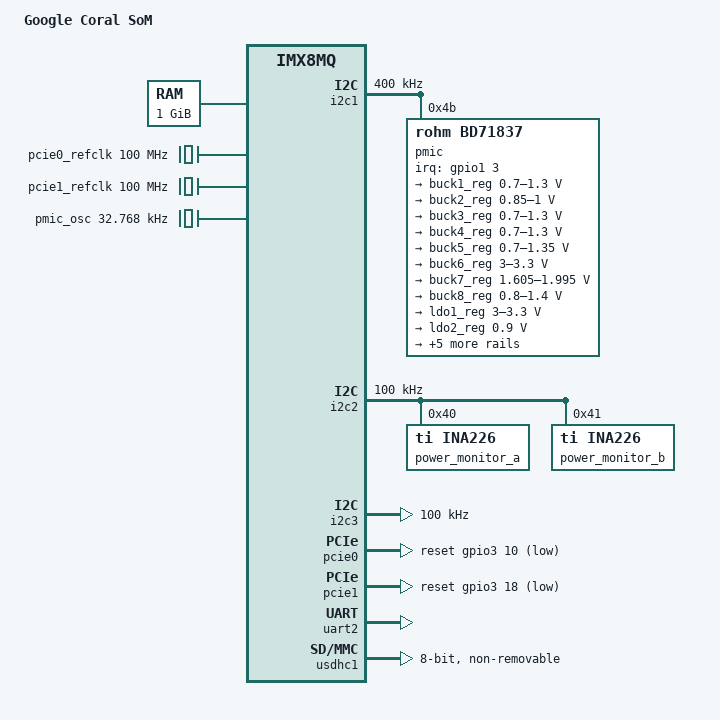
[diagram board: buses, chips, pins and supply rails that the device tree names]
// SPDX-License-Identifier: (GPL-2.0 OR MIT)

#include "imx8mq.dtsi"

/ {
	model = "Google Coral SoM";
	compatible = "fsl,imx8mq";

	memory@40000000 {
		device_type = "memory";
		reg = <0x0 0x40000000 0x0 0x40000000>;
	};

	pcie0_refclk: clock-pcie0-refclk {
		compatible = "fixed-clock";
		#clock-cells = <0>;
		clock-frequency = <100000000>;
	};

	pcie1_refclk: clock-pcie1-refclk {
		compatible = "fixed-clock";
		#clock-cells = <0>;
		clock-frequency = <100000000>;
	};

	pmic_osc: clock-pmic {
		compatible = "fixed-clock";
		#clock-cells = <0>;
		clock-frequency = <32768>;
		clock-output-names = "pmic_osc";
	};
};

&A53_0 {
	cpu-supply = <&buck2_reg>;
};

&A53_1 {
	cpu-supply = <&buck2_reg>;
};

&A53_2 {
	cpu-supply = <&buck2_reg>;
};

&A53_3 {
	cpu-supply = <&buck2_reg>;
};

&i2c1 {
	pinctrl-names = "default";
	pinctrl-0 = <&pinctrl_i2c1>;
	clock-frequency = <400000>;
	status = "okay";

	pmic: pmic@4b {
		compatible = "rohm,bd71837";
		reg = <0x4b>;
		pinctrl-names = "default";
		pinctrl-0 = <&pinctrl_pmic>;
		clocks = <&pmic_osc>;
		clock-names = "osc";
		clock-output-names = "pmic_clk";
		interrupt-parent = <&gpio1>;
		interrupts = <3 GPIO_ACTIVE_LOW>;
		interrupt-names = "irq";

		regulators {
			buck1_reg: BUCK1 {
				regulator-name = "buck1";
				regulator-min-microvolt = <700000>;
				regulator-max-microvolt = <1300000>;
				regulator-boot-on;
				regulator-always-on;
				regulator-ramp-delay = <1250>;
				rohm,dvs-run-voltage = <900000>;
				rohm,dvs-idle-voltage = <900000>;
				rohm,dvs-suspend-voltage = <800000>;
			};

			buck2_reg: BUCK2 {
				regulator-name = "buck2";
				regulator-min-microvolt = <850000>;
				regulator-max-microvolt = <1000000>;
				regulator-boot-on;
				regulator-always-on;
				rohm,dvs-run-voltage = <1000000>;
				rohm,dvs-idle-voltage = <900000>;
			};

			buck3_reg: BUCK3 {
				regulator-name = "buck3";
				regulator-min-microvolt = <700000>;
				regulator-max-microvolt = <1300000>;
				regulator-boot-on;
				rohm,dvs-run-voltage = <900000>;
			};

			buck4_reg: BUCK4 {
				regulator-name = "buck4";
				regulator-min-microvolt = <700000>;
				regulator-max-microvolt = <1300000>;
				regulator-boot-on;
				rohm,dvs-run-voltage = <900000>;
			};

			buck5_reg: BUCK5 {
				regulator-name = "buck5";
				regulator-min-microvolt = <700000>;
				regulator-max-microvolt = <1350000>;
				regulator-boot-on;
				regulator-always-on;
			};

			buck6_reg: BUCK6 {
				regulator-name = "buck6";
				regulator-min-microvolt = <3000000>;
				regulator-max-microvolt = <3300000>;
				regulator-boot-on;
				regulator-always-on;
			};

			buck7_reg: BUCK7 {
				regulator-name = "buck7";
				regulator-min-microvolt = <1605000>;
				regulator-max-microvolt = <1995000>;
				regulator-boot-on;
				regulator-always-on;
			};

			buck8_reg: BUCK8 {
				regulator-name = "buck8";
				regulator-min-microvolt = <800000>;
				regulator-max-microvolt = <1400000>;
				regulator-boot-on;
				regulator-always-on;
			};

			ldo1_reg: LDO1 {
				regulator-name = "ldo1";
				regulator-min-microvolt = <3000000>;
				regulator-max-microvolt = <3300000>;
				regulator-boot-on;
				regulator-always-on;
			};

			ldo2_reg: LDO2 {
				regulator-name = "ldo2";
				regulator-min-microvolt = <900000>;
				regulator-max-microvolt = <900000>;
				regulator-boot-on;
				regulator-always-on;
			};

			ldo3_reg: LDO3 {
				regulator-name = "ldo3";
				regulator-min-microvolt = <1800000>;
				regulator-max-microvolt = <3300000>;
				regulator-boot-on;
				regulator-always-on;
			};

			ldo4_reg: LDO4 {
				regulator-name = "ldo4";
				regulator-min-microvolt = <900000>;
				regulator-max-microvolt = <1800000>;
				regulator-boot-on;
				regulator-always-on;
			};

			ldo5_reg: LDO5 {
				regulator-name = "ldo5";
				regulator-min-microvolt = <1800000>;
				regulator-max-microvolt = <3300000>;
				regulator-boot-on;
				regulator-always-on;
			};

			ldo6_reg: LDO6 {
				regulator-name = "ldo6";
				regulator-min-microvolt = <900000>;
				regulator-max-microvolt = <1800000>;
				regulator-boot-on;
				regulator-always-on;
			};

			ldo7_reg: LDO7 {
				regulator-name = "ldo7";
				regulator-min-microvolt = <1800000>;
				regulator-max-microvolt = <3300000>;
				regulator-boot-on;
				regulator-always-on;
			};
		};
	};
};

&i2c2 {
	pinctrl-names = "default";
	pinctrl-0 = <&pinctrl_i2c2>;
	clock-frequency = <100000>;
	status = "okay";

	power_monitor_a: power-monitor@40 {
		compatible = "ti,ina226";
		reg = <0x40>;
		shunt-resistor = <68000>;
	};

	power_monitor_b: power-monitor@41 {
		compatible = "ti,ina226";
		reg = <0x41>;
		shunt-resistor = <68000>;
	};
};

&i2c3 {
	pinctrl-names = "default";
	pinctrl-0 = <&pinctrl_i2c3>;
	clock-frequency = <100000>;
	status = "okay";
};

&iomuxc {
	pinctrl_i2c1: i2c1grp {
		fsl,pins =
			<MX8MQ_IOMUXC_I2C1_SCL_I2C1_SCL		0x4000007f>,
			<MX8MQ_IOMUXC_I2C1_SDA_I2C1_SDA		0x4000007f>;
	};

	pinctrl_i2c2: i2c2grp {
		fsl,pins =
			<MX8MQ_IOMUXC_I2C2_SCL_I2C2_SCL		0x4000007f>,
			<MX8MQ_IOMUXC_I2C2_SDA_I2C2_SDA		0x4000007f>;
	};

	pinctrl_i2c3: i2c3grp {
		fsl,pins =
			<MX8MQ_IOMUXC_I2C3_SCL_I2C3_SCL		0x4000007f>,
			<MX8MQ_IOMUXC_I2C3_SDA_I2C3_SDA		0x4000007f>;
	};

	pinctrl_pcie0: pcie0grp {
		fsl,pins =
			<MX8MQ_IOMUXC_I2C4_SCL_PCIE1_CLKREQ_B		0x76>,
			/*<MX8MQ_IOMUXC_NAND_DATA05_GPIO3_IO11		0x16>,*/
			<MX8MQ_IOMUXC_NAND_DATA04_GPIO3_IO10		0x16>/*,
			<MX8MQ_IOMUXC_GPIO1_IO00_ANAMIX_REF_CLK_32K	0x5>*/;
	};

	pinctrl_pcie1: pcie1grp {
		fsl,pins =
			<MX8MQ_IOMUXC_I2C4_SDA_PCIE2_CLKREQ_B		0x76>,
			<MX8MQ_IOMUXC_NAND_WP_B_GPIO3_IO18		0x19>;
	};

	pinctrl_pmic: pmicgrp {
		fsl,pins =
			<MX8MQ_IOMUXC_GPIO1_IO03_GPIO1_IO3	0x41>;
	};

	pinctrl_uart1: uart1grp {
		fsl,pins =
			<MX8MQ_IOMUXC_UART1_RXD_UART1_DCE_RX	0x49>,
			<MX8MQ_IOMUXC_UART1_TXD_UART1_DCE_TX	0x49>;
	};

	pinctrl_uart2: uart2grp {
		fsl,pins =
			<MX8MQ_IOMUXC_UART2_RXD_UART2_DCE_RX		0x49>,
			<MX8MQ_IOMUXC_UART2_TXD_UART2_DCE_TX		0x49>,
			<MX8MQ_IOMUXC_UART4_RXD_UART2_DCE_CTS_B		0x49>,
			<MX8MQ_IOMUXC_UART4_TXD_UART2_DCE_RTS_B		0x49>;
	};

	pinctrl_uart2_bt: uart2btgrp {
		fsl,pins =
			<MX8MQ_IOMUXC_NAND_DATA00_GPIO3_IO6		0x19>;
	};

	pinctrl_usdhc1: usdhc1grp {
		fsl,pins =
			<MX8MQ_IOMUXC_SD1_CLK_USDHC1_CLK		0x83>,
			<MX8MQ_IOMUXC_SD1_CMD_USDHC1_CMD		0xc3>,
			<MX8MQ_IOMUXC_SD1_DATA0_USDHC1_DATA0		0xc3>,
			<MX8MQ_IOMUXC_SD1_DATA1_USDHC1_DATA1		0xc3>,
			<MX8MQ_IOMUXC_SD1_DATA2_USDHC1_DATA2		0xc3>,
			<MX8MQ_IOMUXC_SD1_DATA3_USDHC1_DATA3		0xc3>,
			<MX8MQ_IOMUXC_SD1_DATA4_USDHC1_DATA4		0xc3>,
			<MX8MQ_IOMUXC_SD1_DATA5_USDHC1_DATA5		0xc3>,
			<MX8MQ_IOMUXC_SD1_DATA6_USDHC1_DATA6		0xc3>,
			<MX8MQ_IOMUXC_SD1_DATA7_USDHC1_DATA7		0xc3>,
			<MX8MQ_IOMUXC_SD1_STROBE_USDHC1_STROBE		0x83>,
			<MX8MQ_IOMUXC_SD1_RESET_B_USDHC1_RESET_B	0xc1>;
	};

	pinctrl_usdhc1_100mhz: usdhc1-100grp {
		fsl,pins =
			<MX8MQ_IOMUXC_SD1_CLK_USDHC1_CLK		0x85>,
			<MX8MQ_IOMUXC_SD1_CMD_USDHC1_CMD		0xc5>,
			<MX8MQ_IOMUXC_SD1_DATA0_USDHC1_DATA0		0xc5>,
			<MX8MQ_IOMUXC_SD1_DATA1_USDHC1_DATA1		0xc5>,
			<MX8MQ_IOMUXC_SD1_DATA2_USDHC1_DATA2		0xc5>,
			<MX8MQ_IOMUXC_SD1_DATA3_USDHC1_DATA3		0xc5>,
			<MX8MQ_IOMUXC_SD1_DATA4_USDHC1_DATA4		0xc5>,
			<MX8MQ_IOMUXC_SD1_DATA5_USDHC1_DATA5		0xc5>,
			<MX8MQ_IOMUXC_SD1_DATA6_USDHC1_DATA6		0xc5>,
			<MX8MQ_IOMUXC_SD1_DATA7_USDHC1_DATA7		0xc5>,
			<MX8MQ_IOMUXC_SD1_STROBE_USDHC1_STROBE		0x85>,
			<MX8MQ_IOMUXC_SD1_RESET_B_USDHC1_RESET_B	0xc1>;
	};

	pinctrl_usdhc1_200mhz: usdhc1-200grp {
		fsl,pins =
			<MX8MQ_IOMUXC_SD1_CLK_USDHC1_CLK		0x87>,
			<MX8MQ_IOMUXC_SD1_CMD_USDHC1_CMD		0xc7>,
			<MX8MQ_IOMUXC_SD1_DATA0_USDHC1_DATA0		0xc7>,
			<MX8MQ_IOMUXC_SD1_DATA1_USDHC1_DATA1		0xc7>,
			<MX8MQ_IOMUXC_SD1_DATA2_USDHC1_DATA2		0xc7>,
			<MX8MQ_IOMUXC_SD1_DATA3_USDHC1_DATA3		0xc7>,
			<MX8MQ_IOMUXC_SD1_DATA4_USDHC1_DATA4		0xc7>,
			<MX8MQ_IOMUXC_SD1_DATA5_USDHC1_DATA5		0xc7>,
			<MX8MQ_IOMUXC_SD1_DATA6_USDHC1_DATA6		0xc7>,
			<MX8MQ_IOMUXC_SD1_DATA7_USDHC1_DATA7		0xc7>,
			<MX8MQ_IOMUXC_SD1_STROBE_USDHC1_STROBE		0x87>,
			<MX8MQ_IOMUXC_SD1_RESET_B_USDHC1_RESET_B	0xc1>;
	};
};

&pcie0 {
	pinctrl-names = "default";
	pinctrl-0 = <&pinctrl_pcie0>;
	reset-gpio = <&gpio3 10 GPIO_ACTIVE_LOW>;
	clocks = <&clk IMX8MQ_CLK_PCIE1_ROOT>,
	         <&clk IMX8MQ_CLK_PCIE1_AUX>,
	         <&clk IMX8MQ_CLK_PCIE1_PHY>,
	         <&pcie0_refclk>;
	clock-names = "pcie", "pcie_aux", "pcie_phy", "pcie_bus";
	/*status = "okay";*/
};

&pcie1 {
	pinctrl-names = "default";
	pinctrl-0 = <&pinctrl_pcie1>;
	reset-gpio = <&gpio3 18 GPIO_ACTIVE_LOW>;
	clocks = <&clk IMX8MQ_CLK_PCIE2_ROOT>,
	         <&clk IMX8MQ_CLK_PCIE2_AUX>,
	         <&clk IMX8MQ_CLK_PCIE2_PHY>,
	         <&pcie1_refclk>;
	clock-names = "pcie", "pcie_aux", "pcie_phy", "pcie_bus";
	status = "okay";
};

&pgc_gpu {
	power-supply = <&buck3_reg>;
};

&pgc_vpu {
	power-supply = <&buck4_reg>;
};

&uart1 {
	pinctrl-names = "default";
	pinctrl-0 = <&pinctrl_uart1>;
};

/* Bluetooth */
&uart2 {
	pinctrl-names = "default";
	pinctrl-0 = <&pinctrl_uart2>, <&pinctrl_uart2_bt>;
	uart-has-rtscts;
	status = "okay";
};

/* eMMC */
&usdhc1 {
	pinctrl-names = "default", "state_100mhz", "state_200mhz";
	pinctrl-0 = <&pinctrl_usdhc1>;
	pinctrl-1 = <&pinctrl_usdhc1_100mhz>;
	pinctrl-2 = <&pinctrl_usdhc1_200mhz>;
	bus-width = <8>;
	non-removable;
	no-sd;
	no-sdio;
	status = "okay";
};
